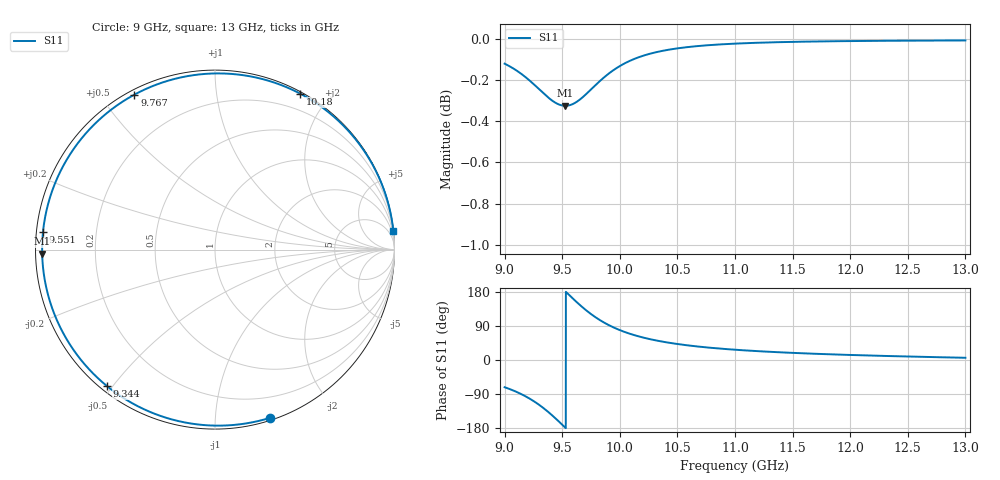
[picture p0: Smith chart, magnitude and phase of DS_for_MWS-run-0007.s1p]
! TOUCHSTONE file generated by CST DESIGN STUDIO
! Date and time: Tue Feb  4 18:14:36 2025
! Project name: C:\Work\MatlabApps\UnitCellOptimizationMatlab\CST\unitcell.cst
! Tree item: Tasks\Sweep1\SPara1\S-Parameters
! Header version: 2024
! Port assignment regex: !\s*Touchstone port\s*([0-9]+)\s*=\s*(CST MWS port|CST DES external port|CST DES block port)\s*(.+)\s* \(\"(.*)\"\)(\s*mode\s*([0-9]+))?.*
! Touchstone port assignment:
! Touchstone port 1 = CST DES external port 1 ("")
# GHz S MA R 50
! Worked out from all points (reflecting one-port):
!   4001 points, 9 GHz to 13 GHz, reference 50 ohm
!   lowest |S11| = -0.3 dB at 9.527 GHz (marker M1), VSWR 53.45, Z = 0.936 - j0.583 ohm
!   phase of S11 starts at -72 deg and turns -282 deg over the sweep
!   S11 on the Smith chart (normalised r, x): 9 GHz: 0.02, -1.38; 9.344 GHz: 0.02, -0.48; 9.551 GHz: 0.02, +0.05; 9.767 GHz: 0.02, +0.61; 10.18 GHz: 0.02, +1.69; 13 GHz: 0, +20
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9  0.9863 -71.8
9.095  0.9828 -83.0
9.202  0.9778 -99.2
9.276  0.9736 -113.3
9.344  0.9697 -128.5
9.387  0.9673 -139.2
9.431  0.9653 -151.0
9.5  0.9634 -170.7
9.527  0.9633 -178.7
9.551  0.9634 174.3
9.605  0.9646 158.6
9.665  0.9672 142.1
9.716  0.9701 129.2
9.767  0.9732 117.5
9.816  0.9761 107.4
9.87  0.9791 97.6
9.93  0.982 88.2
10  0.9849 78.9
10.085  0.9878 69.5
10.177  0.9901 61.2
10.324  0.9927 51.1
10.5  0.9947 42.2
10.721  0.9963 34.2
11  0.9974 27.1
11.5  0.9984 18.8
12  0.9988 13.3
12.5  0.999 9.2
13  0.9992 5.9
